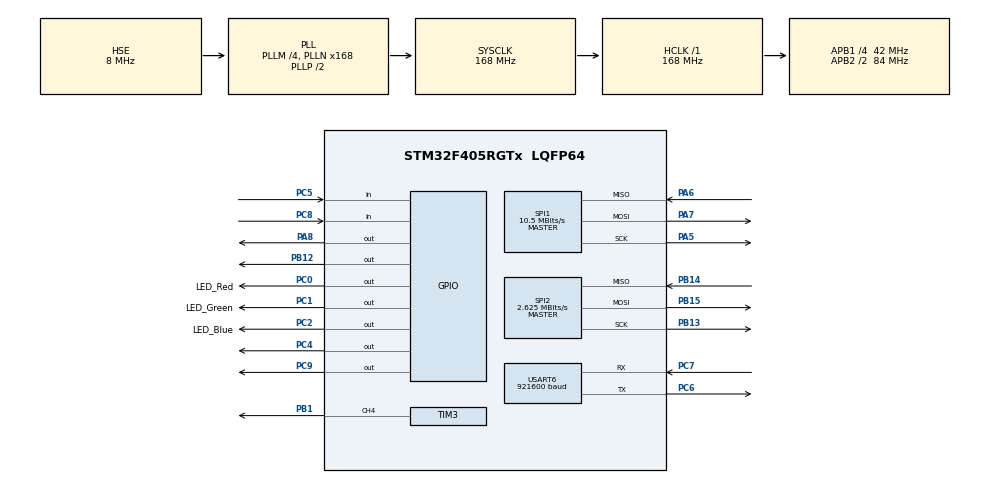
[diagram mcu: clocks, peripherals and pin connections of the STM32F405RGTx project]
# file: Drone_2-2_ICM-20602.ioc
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Mcu.Family=STM32F4
Mcu.Name=STM32F405RGTx
Mcu.Package=LQFP64
NVIC.PriorityGroup=NVIC_PRIORITYGROUP_4
NVIC.USART6_IRQn=true\:0\:0\:false\:false\:true\:true\:true\:true
PA5.Mode=Full_Duplex_Master
PA5.Signal=SPI1_SCK
PA6.Mode=Full_Duplex_Master
PA6.Signal=SPI1_MISO
PA7.Mode=Full_Duplex_Master
PA7.Signal=SPI1_MOSI
PA8.Signal=GPIO_Output
PB1.Signal=S_TIM3_CH4
PB12.Signal=GPIO_Output
PB13.Mode=Full_Duplex_Master
PB13.Signal=SPI2_SCK
PB14.Mode=Full_Duplex_Master
PB14.Signal=SPI2_MISO
PB15.Mode=Full_Duplex_Master
PB15.Signal=SPI2_MOSI
PC0.GPIO_Label=LED_Red
PC0.Signal=GPIO_Output
PC1.GPIO_Label=LED_Green
PC1.Signal=GPIO_Output
PC2.GPIO_Label=LED_Blue
PC2.Signal=GPIO_Output
PC4.Signal=GPIO_Output
PC5.Signal=GPIO_Input
PC6.Mode=Asynchronous
PC6.Signal=USART6_TX
PC7.Mode=Asynchronous
PC7.Signal=USART6_RX
PC8.Signal=GPIO_Input
PC9.Signal=GPIO_Output
PH0-OSC_IN.Mode=HSE-External-Oscillator
PH0-OSC_IN.Signal=RCC_OSC_IN
PH1-OSC_OUT.Mode=HSE-External-Oscillator
PH1-OSC_OUT.Signal=RCC_OSC_OUT
ProjectManager.HeapSize=0x200
ProjectManager.StackSize=0x400
ProjectManager.TargetToolchain=STM32CubeIDE
RCC.48MHZClocksFreq_Value=84000000
RCC.AHBFreq_Value=168000000
RCC.APB1CLKDivider=RCC_HCLK_DIV4
RCC.APB1Freq_Value=42000000
RCC.APB1TimFreq_Value=84000000
RCC.APB2CLKDivider=RCC_HCLK_DIV2
RCC.APB2Freq_Value=84000000
RCC.APB2TimFreq_Value=168000000
RCC.CortexFreq_Value=168000000
RCC.HCLKFreq_Value=168000000
RCC.HSE_VALUE=8000000
RCC.HSI_VALUE=16000000
RCC.LSE_VALUE=32768
RCC.PLLM=4
RCC.PLLN=168
RCC.PLLSourceVirtual=RCC_PLLSOURCE_HSE
RCC.SYSCLKFreq_VALUE=168000000
RCC.SYSCLKSource=RCC_SYSCLKSOURCE_PLLCLK
RCC.VCOOutputFreq_Value=336000000
SH.S_TIM3_CH4.0=TIM3_CH4,PWM Generation4 CH4
SPI1.BaudRatePrescaler=SPI_BAUDRATEPRESCALER_8
SPI1.CLKPhase=SPI_PHASE_2EDGE
SPI1.CLKPolarity=SPI_POLARITY_HIGH
SPI1.CalculateBaudRate=10.5 MBits/s
SPI1.Direction=SPI_DIRECTION_2LINES
SPI1.Mode=SPI_MODE_MASTER
SPI1.VirtualType=VM_MASTER
SPI2.BaudRatePrescaler=SPI_BAUDRATEPRESCALER_16
SPI2.CLKPhase=SPI_PHASE_2EDGE
SPI2.CLKPolarity=SPI_POLARITY_HIGH
SPI2.CalculateBaudRate=2.625 MBits/s
SPI2.Direction=SPI_DIRECTION_2LINES
SPI2.Mode=SPI_MODE_MASTER
SPI2.VirtualType=VM_MASTER
TIM3.AutoReloadPreload=TIM_AUTORELOAD_PRELOAD_ENABLE
TIM3.Channel-PWM\ Generation4\ CH4=TIM_CHANNEL_4
TIM3.OCFastMode_PWM-PWM\ Generation4\ CH4=TIM_OCFAST_ENABLE
TIM3.Period=21-1
TIM3.Prescaler=1000-1
TIM3.Pulse-PWM\ Generation4\ CH4=11-1
USART6.BaudRate=921600
USART6.VirtualMode=VM_ASYNC
VP_TIM3_VS_ClockSourceINT.Mode=Internal
board=custom

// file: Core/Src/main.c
/* USER CODE BEGIN Header */
/**
  ******************************************************************************
  * @file           : main.c
  * @brief          : Main program body
  ******************************************************************************
  * @attention
  *
  * Copyright (c) 2024 STMicroelectronics.
  * All rights reserved.
  *
  * This software is licensed under terms that can be found in the LICENSE file
  * in the root directory of this software component.
  * If no LICENSE file comes with this software, it is provided AS-IS.
  *
  ******************************************************************************
  */
/* USER CODE END Header */
#include "main.h"
#include "spi.h"
#include "tim.h"
#include "usart.h"
#include "gpio.h"

/* USER CODE BEGIN Includes */
#include "BNO080.h"
#include "Quaternion.h"
#include "ICM20602.h"
/* USER CODE END Includes */

/* USER CODE BEGIN PTD */

int _write(int file, char *p, int len) {
	HAL_UART_Transmit(&huart6, p, len, 1);
	return len;
}

/* USER CODE END PTD */

/* USER CODE BEGIN PV */
uint8_t rxBuffer;
/* USER CODE END PV */

void SystemClock_Config(void);

int main(void)
{
  /* USER CODE BEGIN 1 */
	float q[4];
	float quatRadianAccuracy;
  /* USER CODE END 1 */

  /* MCU Configuration--------------------------------------------------------*/

  /* Reset of all peripherals, Initializes the Flash interface and the Systick. */
  HAL_Init();

  /* Configure the system clock */
  SystemClock_Config();

  /* Initialize all configured peripherals */
  MX_GPIO_Init();
  MX_TIM3_Init();
  MX_USART6_UART_Init();
  MX_SPI2_Init();
  MX_SPI1_Init();
  /* USER CODE BEGIN 2 */

  HAL_TIM_PWM_Start(&htim3, TIM_CHANNEL_4);

  htim3.Instance->PSC=2000;
  HAL_Delay(100);
  htim3.Instance->PSC=1500;
  HAL_Delay(100);
  htim3.Instance->PSC=1000;
  HAL_Delay(100);

  HAL_TIM_PWM_Stop(&htim3, TIM_CHANNEL_4);

  HAL_UART_Receive_IT(&huart6, &rxBuffer, 1);

  BNO080_Initialization();
  BNO080_enableRotationVector(2500);

  ICM20602_Initialization();

  /* USER CODE END 2 */

  /* Infinite loop */
  while (1)
  {

    /* USER CODE BEGIN 3 */
//	  if(BNO080_dataAvailable()==1)
//	  {
//		   q[0] = BNO080_getQuatI();
//		   q[1] = BNO080_getQuatJ();
//		   q[2] = BNO080_getQuatK();
//		   q[3] = BNO080_getQuatReal();
//		   quatRadianAccuracy = BNO080_getQuatAccuracy();
//
//		   Quaternion_Update(&q[0]);
//
//		   printf("%d,%d,%d\n", (int)(BNO080_Roll*100),(int)(BNO080_Pitch*100), (int)(BNO080_Yaw*100));
//	  }
	  if(ICM20602_DataReady()==1){
		  ICM20602_Get3AxisGyroRawData(&ICM20602.gyro_x_raw);

		  ICM20602.gyro_x = ICM20602.gyro_x_raw * 2000.f / 32768.f;
		  ICM20602.gyro_y = ICM20602.gyro_y_raw * 2000.f / 32768.f;
		  ICM20602.gyro_z = ICM20602.gyro_z_raw * 2000.f / 32768.f;

		  printf("%d,%d,%d\n",(int)(ICM20602.gyro_x_raw*100),
				  (int)(ICM20602.gyro_y_raw*100),(int)(ICM20602.gyro_z_raw*100));
	  }
  }
  /* USER CODE END 3 */
}

void SystemClock_Config(void)
{
  RCC_OscInitTypeDef RCC_OscInitStruct = {0};
  RCC_ClkInitTypeDef RCC_ClkInitStruct = {0};

  /** Configure the main internal regulator output voltage
  */
  __HAL_RCC_PWR_CLK_ENABLE();
  __HAL_PWR_VOLTAGESCALING_CONFIG(PWR_REGULATOR_VOLTAGE_SCALE1);

  /** Initializes the RCC Oscillators according to the specified parameters
  * in the RCC_OscInitTypeDef structure.
  */
  RCC_OscInitStruct.OscillatorType = RCC_OSCILLATORTYPE_HSE;
  RCC_OscInitStruct.HSEState = RCC_HSE_ON;
  RCC_OscInitStruct.PLL.PLLState = RCC_PLL_ON;
  RCC_OscInitStruct.PLL.PLLSource = RCC_PLLSOURCE_HSE;
  RCC_OscInitStruct.PLL.PLLM = 4;
  RCC_OscInitStruct.PLL.PLLN = 168;
  RCC_OscInitStruct.PLL.PLLP = RCC_PLLP_DIV2;
  RCC_OscInitStruct.PLL.PLLQ = 4;
  if (HAL_RCC_OscConfig(&RCC_OscInitStruct) != HAL_OK)
  {
    Error_Handler();
  }

  /** Initializes the CPU, AHB and APB buses clocks
  */
  RCC_ClkInitStruct.ClockType = RCC_CLOCKTYPE_HCLK|RCC_CLOCKTYPE_SYSCLK
                              |RCC_CLOCKTYPE_PCLK1|RCC_CLOCKTYPE_PCLK2;
  RCC_ClkInitStruct.SYSCLKSource = RCC_SYSCLKSOURCE_PLLCLK;
  RCC_ClkInitStruct.AHBCLKDivider = RCC_SYSCLK_DIV1;
  RCC_ClkInitStruct.APB1CLKDivider = RCC_HCLK_DIV4;
  RCC_ClkInitStruct.APB2CLKDivider = RCC_HCLK_DIV2;

  if (HAL_RCC_ClockConfig(&RCC_ClkInitStruct, FLASH_LATENCY_5) != HAL_OK)
  {
    Error_Handler();
  }
}

/* USER CODE BEGIN 4 */
void HAL_UART_RxCpltCallback(UART_HandleTypeDef *huart){
	if(huart->Instance == USART6){
		HAL_UART_Receive_IT(&huart6, &rxBuffer, 1);
	  	HAL_UART_Transmit(&huart6, &rxBuffer, 1, 0);
	}
}
/* USER CODE END 4 */

void Error_Handler(void)
{
  __disable_irq();
  while (1)
  {
  }
}
